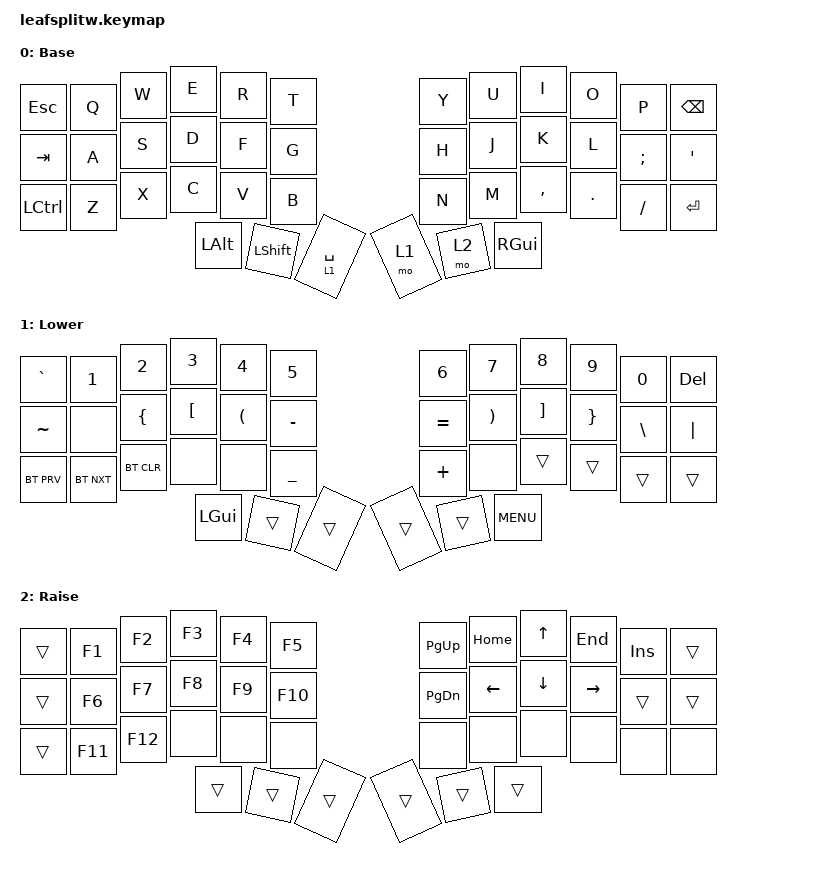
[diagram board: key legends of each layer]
#include <behaviors.dtsi>
#include <dt-bindings/zmk/keys.h>

/ {
	keymap {
		compatible = "zmk,keymap";

		base {
			display-name = "Base";
			
			bindings = <
				&kp ESC    &kp Q  &kp W  &kp E  &kp R  &kp T      &kp Y  &kp U  &kp I      &kp O	&kp P     &kp BSPC
				&kp TAB    &kp A  &kp S  &kp D  &kp F  &kp G      &kp H  &kp J  &kp K      &kp L	&kp SEMI  &kp APOS
				&kp LCTRL  &kp Z  &kp X  &kp C  &kp V  &kp B      &kp N  &kp M  &kp COMMA  &kp DOT	&kp FSLH  &kp ENTER
				            &kp LALT  &kp LSHFT  &lt 1 SPACE      &mo 1  &mo 2 &kp RGUI
			>;
		};
		
		lower {
			display-name = "Lower";
			bindings = <
				&kp GRAVE  &kp N1  	   &kp N2    	&kp N3    &kp N4    &kp N5         &kp N6     &kp N7    &kp N8    &kp N9	&kp N0    &kp DEL
				&kp TILDE  &none   	   &kp LBRC  	&kp LBKT  &kp LPAR  &kp MINUS      &kp EQUAL  &kp RPAR  &kp RBKT  &kp RBRC	&kp BSLH  &kp PIPE
				&bt BT_PRV &bt BT_NXT  &bt BT_CLR   &none     &none     &kp UNDER      &kp PLUS   &none     &trans    &trans	&trans    &trans
											 		&kp LGUI  &trans    &trans         &trans     &trans    &kp C_MENU
			>;
		};
		
		raise {
			display-name = "Raise";
			bindings = <
				&trans  &kp F1   &kp F2   &kp F3  &kp F4  &kp F5      &kp PG_UP  &kp HOME  &kp UP    &kp END	&kp INS  &trans
				&trans  &kp F6   &kp F7   &kp F8  &kp F9  &kp F10     &kp PG_DN  &kp LEFT  &kp DOWN  &kp RIGHT	&trans   &trans
				&trans  &kp F11  &kp F12  &none   &none   &none       &none      &none     &none     &none      &none    &none
										  &trans  &trans  &trans      &trans     &trans    &trans
			>;
		};
		
		extra1 {
			status = "reserved";
		};
	};
};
